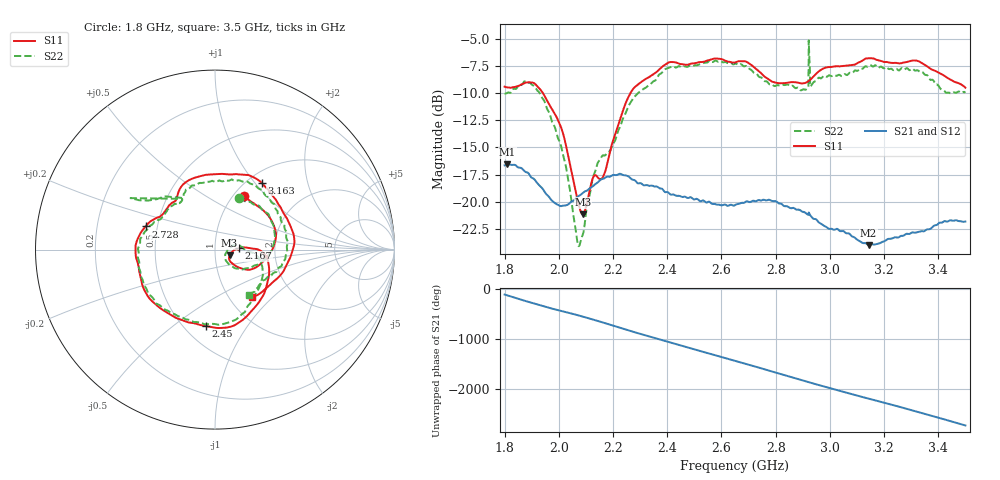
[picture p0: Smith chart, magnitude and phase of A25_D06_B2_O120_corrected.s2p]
! Created with skrf 1.9.0 (http://scikit-rf.org).
# Hz S RI R 50.0
!freq ReS11 ImS11 ReS21 ImS21 ReS12 ImS12 ReS22 ImS22
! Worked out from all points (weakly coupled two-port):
!   1601 points, 1.8 GHz to 3.5 GHz, reference 50 ohm
!   highest |S21| = -16.56 dB at 1.811 GHz (marker M1); lowest = -23.9 dB at 3.143 GHz (marker M2)
!   lowest |S11| = -21.1 dB at 2.089 GHz (marker M3), VSWR 1.19, Z = 58.7 - j3.87 ohm
!   |S11| at or under -10 dB: 1.941 GHz to 2.264 GHz (323.2 MHz wide, 15.4 % of centre)
!   |S22| runs from -24.1 to -5.2 dB; largest |S21 - S12| = 0.0025
!   S11 on the Smith chart (normalised r, x): 1.8 GHz: 1.12, +0.75; 2.167 GHz: 1.31, +0.02; 2.45 GHz: 0.63, -0.66; 2.728 GHz: 0.43, +0.13; 3.163 GHz: 1.15, +1.09; 3.5 GHz: 1.27, -0.75
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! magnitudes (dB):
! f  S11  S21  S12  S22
! 1.8 GHz  -9.4  -16.6  -16.6  -10.0
! 1.811 GHz  -9.5  -16.6  -16.6  -10.0
! 1.88 GHz  -9.0  -17.3  -17.3  -9.0
! 1.942 GHz  -10.0  -18.9  -18.9  -10.6
! 2.011 GHz  -13.4  -20.4  -20.4  -15.2
! 2.068 GHz  -19.7  -19.6  -19.6  -23.6
! 2.084 GHz  -21.0  -19.3  -19.2  -23.3
! 2.089 GHz  -21.1  -19.2  -19.2  -22.9
! 2.128 GHz  -17.7  -18.5  -18.5  -17.6
! 2.167 GHz  -17.5  -17.9  -17.8  -15.7
! 2.26 GHz  -10.2  -17.7  -17.7  -11.1
! 2.367 GHz  -7.9  -18.7  -18.6  -8.4
! 2.45 GHz  -7.3  -19.5  -19.5  -7.6
! 2.65 GHz  -7.2  -20.3  -20.3  -7.3
! 2.728 GHz  -7.8  -19.9  -19.9  -8.2
! 2.806 GHz  -9.1  -20.0  -20.0  -9.3
! 2.934 GHz  -8.6  -21.4  -21.4  -9.2
! 3.143 GHz  -6.8  -23.9  -23.8  -7.5
! 3.163 GHz  -6.8  -23.9  -23.9  -7.5
! 3.217 GHz  -7.2  -23.4  -23.4  -7.8
! 3.324 GHz  -7.1  -22.8  -22.7  -7.9
! 3.5 GHz  -9.5  -21.8  -21.8  -10.0
